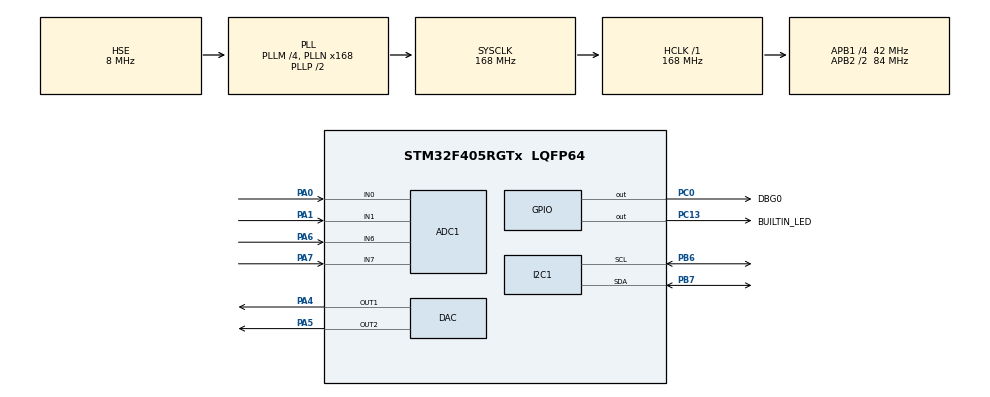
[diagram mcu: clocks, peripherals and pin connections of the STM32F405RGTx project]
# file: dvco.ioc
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Mcu.Family=STM32F4
PH0-OSC_IN.Signal=RCC_OSC_IN
RCC.CortexFreq_Value=168000000
Dma.DAC2.2.PeriphInc=DMA_PINC_DISABLE
DAC.DAC_OutputBuffer2=DAC_OUTPUTBUFFER_DISABLE
Dma.DAC1.1.PeriphInc=DMA_PINC_DISABLE
PC0.GPIO_Label=DBG0
Dma.DAC2.2.Priority=DMA_PRIORITY_LOW
Dma.DAC2.2.FIFOMode=DMA_FIFOMODE_DISABLE
RCC.SYSCLKSource=RCC_SYSCLKSOURCE_PLLCLK
ProjectManager.StackSize=0x400
SH.COMP_DAC2_group.0=DAC_OUT2,DAC_OUT2
Dma.DAC2.2.Instance=DMA1_Stream6
Mcu.UserConstants=AUD_PRE,349;AUD_CNT,9
ADC1.Channel-3\#ChannelRegularConversion=ADC_CHANNEL_7
RCC.HCLKFreq_Value=168000000
RCC.APB2TimFreq_Value=168000000
PB6.Signal=I2C1_SCL
Dma.ADC1.0.Direction=DMA_PERIPH_TO_MEMORY
ADC1.Channel-2\#ChannelRegularConversion=ADC_CHANNEL_6
PB6.Mode=I2C
NVIC.DMA2_Stream0_IRQn=true\:0\:0\:false\:false\:true\:false\:true
Dma.ADC1.0.MemDataAlignment=DMA_MDATAALIGN_HALFWORD
RCC.AHBFreq_Value=168000000
PH0-OSC_IN.Mode=HSE-External-Oscillator
ADC1.Channel-0\#ChannelRegularConversion=ADC_CHANNEL_0
RCC.HSE_VALUE=8000000
ADC1.ScanConvMode=ENABLE
PC13-ANTI_TAMP.Signal=GPIO_Output
DAC.DAC_Trigger2=DAC_TRIGGER_T8_TRGO
ADC1.Rank-2\#ChannelRegularConversion=3
STMicroelectronics.X-CUBE-ALGOBUILD.1.1.0.LibraryCcDSPOoLibraryJjDSPOoLibrary=true
DAC.DAC_Trigger=DAC_TRIGGER_T8_TRGO
PA14.Mode=Serial_Wire
Dma.ADC1.0.PeriphInc=DMA_PINC_DISABLE
Dma.DAC1.1.PeriphDataAlignment=DMA_PDATAALIGN_HALFWORD
PB7.Signal=I2C1_SDA
DAC.DAC_OutputBuffer=DAC_OUTPUTBUFFER_DISABLE
SH.ADCx_IN0.0=ADC1_IN0,IN0
Dma.DAC1.1.Priority=DMA_PRIORITY_LOW
Dma.DAC2.2.MemInc=DMA_MINC_ENABLE
ADC1.SamplingTime-0\#ChannelRegularConversion=ADC_SAMPLETIME_3CYCLES
Dma.DAC1.1.Direction=DMA_MEMORY_TO_PERIPH
PH1-OSC_OUT.Mode=HSE-External-Oscillator
Mcu.Package=LQFP64
PA6.Signal=ADCx_IN6
TIM8.Prescaler=AUD_PRE
RCC.APB2CLKDivider=RCC_HCLK_DIV2
SH.ADCx_IN1.0=ADC1_IN1,IN1
Dma.Request2=DAC2
Dma.Request1=DAC1
RCC.APB1TimFreq_Value=84000000
Dma.ADC1.0.FIFOMode=DMA_FIFOMODE_DISABLE
NVIC.DMA1_Stream6_IRQn=true\:0\:0\:false\:false\:true\:false\:true
Dma.Request0=ADC1
Dma.DAC1.1.MemDataAlignment=DMA_MDATAALIGN_HALFWORD
RCC.PLLSourceVirtual=RCC_PLLSOURCE_HSE
SH.COMP_DAC1_group.0=DAC_OUT1,DAC_OUT1
Dma.ADC1.0.Instance=DMA2_Stream0
ADC1.Rank-0\#ChannelRegularConversion=1
SH.ADCx_IN6.0=ADC1_IN6,IN6
PC13-ANTI_TAMP.GPIO_Label=BUILTIN_LED
PC0.Signal=GPIO_Output
RCC.APB1CLKDivider=RCC_HCLK_DIV4
Dma.DAC2.2.MemDataAlignment=DMA_MDATAALIGN_HALFWORD
ADC1.SamplingTime-2\#ChannelRegularConversion=ADC_SAMPLETIME_3CYCLES
PC13-ANTI_TAMP.PinState=GPIO_PIN_SET
PA0-WKUP.Signal=ADCx_IN0
Dma.DAC1.1.MemInc=DMA_MINC_ENABLE
PA13.Signal=SYS_JTMS-SWDIO
Dma.ADC1.0.PeriphDataAlignment=DMA_PDATAALIGN_HALFWORD
Dma.DAC1.1.Mode=DMA_CIRCULAR
ProjectManager.TargetToolchain=STM32CubeIDE
NVIC.DMA1_Stream5_IRQn=true\:0\:0\:false\:false\:true\:false\:true
SH.ADCx_IN7.0=ADC1_IN7,IN7
Dma.ADC1.0.Mode=DMA_CIRCULAR
Dma.ADC1.0.Priority=DMA_PRIORITY_LOW
ADC1.Channel-1\#ChannelRegularConversion=ADC_CHANNEL_1
Dma.DAC2.2.Mode=DMA_CIRCULAR
VP_TIM8_VS_ClockSourceINT.Mode=Internal
RCC.LSE_VALUE=32768
PA1.Signal=ADCx_IN1
PA5.Signal=COMP_DAC2_group
TIM8.AutoReloadPreload=TIM_AUTORELOAD_PRELOAD_ENABLE
board=custom
RCC.VCOOutputFreq_Value=336000000
RCC.APB2Freq_Value=84000000
Dma.DAC2.2.PeriphDataAlignment=DMA_PDATAALIGN_HALFWORD
PH1-OSC_OUT.Signal=RCC_OSC_OUT
ADC1.DMAContinuousRequests=ENABLE
ADC1.NbrOfConversion=4
PA13.Mode=Serial_Wire
Dma.DAC1.1.FIFOMode=DMA_FIFOMODE_DISABLE
VP_STMicroelectronics.X-CUBE-ALGOBUILD_VS_DSPOoLibraryJjLibrary_1.1.0.Mode=DSPOoLibraryJjLibrary
Mcu.Name=STM32F405RGTx
ADC1.ExternalTrigConv=ADC_EXTERNALTRIGCONV_T8_TRGO
TIM8.Period=AUD_CNT
RCC.48MHZClocksFreq_Value=84000000
PA4.Signal=COMP_DAC1_group
ADC1.SamplingTime-1\#ChannelRegularConversion=ADC_SAMPLETIME_3CYCLES
RCC.SYSCLKFreq_VALUE=168000000
ADC1.master=1
ADC1.Rank-3\#ChannelRegularConversion=4
ADC1.SamplingTime-3\#ChannelRegularConversion=ADC_SAMPLETIME_3CYCLES
TIM8.TIM_MasterOutputTrigger=TIM_TRGO_UPDATE
Dma.DAC1.1.Instance=DMA1_Stream5
ADC1.Rank-1\#ChannelRegularConversion=2
PB7.Mode=I2C
PA14.Signal=SYS_JTCK-SWCLK
Dma.ADC1.0.MemInc=DMA_MINC_ENABLE
ProjectManager.HeapSize=0x200
RCC.HSI_VALUE=16000000
NVIC.PriorityGroup=NVIC_PRIORITYGROUP_4
ADC1.NbrOfConversionFlag=1
RCC.PLLM=4
RCC.PLLN=168
Dma.DAC2.2.Direction=DMA_MEMORY_TO_PERIPH
RCC.APB1Freq_Value=42000000
PA7.Signal=ADCx_IN7

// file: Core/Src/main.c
/* USER CODE BEGIN Header */
/**
 ******************************************************************************
 * @file           : main.c
 * @brief          : Main program body
 ******************************************************************************
 * @attention
 *
 * <h2><center>&copy; Copyright (c) 2020 Lars Boegild Thomsen <lbthomsen@gmail.com>.
 * All rights reserved.</center></h2>
 *
 * This software component is licensed by lbthomsen under MIT license,
 * the "License"; You may not use this file except in compliance with the
 * License. You may obtain a copy of the License at:
 *                        opensource.org/licenses/MIT
 *
 ******************************************************************************
 */
/* USER CODE END Header */
#include "main.h"

/* USER CODE BEGIN Includes */

// Relies on arm's optimised floating point library to get math done quick
#include "arm_math.h"
/* USER CODE END Includes */

/* USER CODE BEGIN PD */

#define M_PI2 2 * M_PI // Full Circle

#define SAMPLE_FREQUENCY 48000 // TIM8
#define BUFFER_SIZE 48
#define DAC_MAX 4095
#define DAC_MID 2047

/* USER CODE END PD */

ADC_HandleTypeDef hadc1;
DMA_HandleTypeDef hdma_adc1;

DAC_HandleTypeDef hdac;
DMA_HandleTypeDef hdma_dac1;
DMA_HandleTypeDef hdma_dac2;

I2C_HandleTypeDef hi2c1;

TIM_HandleTypeDef htim8;

/* USER CODE BEGIN PV */

// Actual buffers used by DMA from adcs and to dacs
uint16_t adc_buffer[BUFFER_SIZE * 2 * 4] = { 0 };
uint16_t dac1_buffer[BUFFER_SIZE * 2] = { 0 };
uint16_t dac2_buffer[BUFFER_SIZE * 2] = { 0 };

uint16_t *adc_buffer_ptr = adc_buffer;
uint16_t *dac1_buffer_ptr = dac1_buffer;
uint16_t *dac2_buffer_ptr = dac2_buffer;

// Stuff used for wave calculations
float osc1_angle = 0;				// Current angle
float osc1_angle_per_sample = 0;    // Angular velocity - calculated from freq
float osc1_amp = 1;
float osc2_angle = 0;
float osc2_angle_per_sample = 0;
float osc2_amp = 1;

uint32_t dac_count = 0; // Count dma buffer transfers
uint32_t adc_count = 0; //

// Potentiometer values
uint16_t pot0 = 0;
uint16_t pot1 = 0;

/* USER CODE END PV */

void SystemClock_Config(void);
static void MX_GPIO_Init(void);
static void MX_DMA_Init(void);
static void MX_ADC1_Init(void);
static void MX_DAC_Init(void);
static void MX_TIM8_Init(void);
static void MX_I2C1_Init(void);

/* USER CODE BEGIN 0 */

// Technically we're not interested in frequency but instead
// immediately calculate the angular velocity.
void set_osc1_freq(float freq) {
	osc1_angle_per_sample = M_PI2 / (SAMPLE_FREQUENCY / freq);
}

void set_osc2_freq(float freq) {
	osc2_angle_per_sample = M_PI2 / (SAMPLE_FREQUENCY / freq);
}

// Get pot values - average of 48 samples each pot
static inline void update_pots(uint16_t *sample_ptr) {

	HAL_GPIO_WritePin(DBG0_GPIO_Port, DBG0_Pin, GPIO_PIN_SET);

	uint32_t pot0_value = 0;
	uint32_t pot1_value = 0;
	for (uint8_t i = 0; i < BUFFER_SIZE; ++i) {
		pot0_value += (uint16_t) *sample_ptr;
		sample_ptr++;
		pot1_value += (uint16_t) *sample_ptr;
		sample_ptr++;
		sample_ptr++;
		sample_ptr++;
	}
	pot0 = pot0_value / BUFFER_SIZE;
	pot1 = pot1_value / BUFFER_SIZE;

	//set_osc1_freq((float) (4096 - pot0) / 4);
	//osc1_amp = (float) (4096.0 - pot1) / 4096;

	adc_count++;

	HAL_GPIO_WritePin(DBG0_GPIO_Port, DBG0_Pin, GPIO_PIN_RESET);

}

void HAL_ADC_ConvCpltCallback(ADC_HandleTypeDef *hadc) {
	if (hadc->Instance == ADC1) {

		update_pots(&adc_buffer[BUFFER_SIZE]);

	}
}

void HAL_ADC_ConvHalfCpltCallback(ADC_HandleTypeDef *hadc) {
	if (hadc->Instance == ADC1) {

		update_pots(&adc_buffer[0]);

	}
}

static inline void update_osc_buffers() {

	HAL_GPIO_WritePin(DBG0_GPIO_Port, DBG0_Pin, GPIO_PIN_SET);

	for (uint8_t sample = 0; sample < BUFFER_SIZE; sample++) {

		*dac1_buffer_ptr = (uint16_t) (DAC_MID
				+ osc1_amp * arm_sin_f32(osc1_angle) * DAC_MID);
		*dac2_buffer_ptr = (uint16_t) (DAC_MID
				+ osc2_amp * arm_sin_f32(osc2_angle) * DAC_MID);
		osc1_angle += osc1_angle_per_sample;
		osc2_angle += osc2_angle_per_sample;
		dac1_buffer_ptr++;
		dac2_buffer_ptr++;

		if (osc1_angle > M_PI2)
			osc1_angle -= M_PI2;
		if (osc2_angle > M_PI2)
			osc2_angle -= M_PI2;

	}

	dac_count++;

	HAL_GPIO_WritePin(DBG0_GPIO_Port, DBG0_Pin, GPIO_PIN_RESET);

}

// Contrary to the name this callback actually handles both channels
void HAL_DAC_ConvCpltCallbackCh1(DAC_HandleTypeDef *hdac) {

	dac1_buffer_ptr = &dac1_buffer[BUFFER_SIZE];
	dac2_buffer_ptr = &dac2_buffer[BUFFER_SIZE];

	update_osc_buffers();

}

// Contrary to the name this callback actually handles both channels
void HAL_DAC_ConvHalfCpltCallbackCh1(DAC_HandleTypeDef *hdac) {

	dac1_buffer_ptr = &dac1_buffer[0];
	dac2_buffer_ptr = &dac2_buffer[0];

	update_osc_buffers();

}

/* USER CODE END 0 */

int main(void)
{

  /* MCU Configuration--------------------------------------------------------*/

  /* Reset of all peripherals, Initializes the Flash interface and the Systick. */
  HAL_Init();

  /* Configure the system clock */
  SystemClock_Config();

  /* Initialize all configured peripherals */
  MX_GPIO_Init();
  MX_DMA_Init();
  MX_ADC1_Init();
  MX_DAC_Init();
  MX_TIM8_Init();
  MX_I2C1_Init();
  /* USER CODE BEGIN 2 */

	HAL_TIM_Base_Start_IT(&htim8);

	HAL_ADC_Start_DMA(&hadc1, (uint32_t *)adc_buffer, BUFFER_SIZE * 2 * 4);

	HAL_DAC_Start_DMA(&hdac, DAC_CHANNEL_1, (uint32_t *)dac1_buffer, BUFFER_SIZE * 2,
			DAC_ALIGN_12B_R);
	HAL_DAC_Start_DMA(&hdac, DAC_CHANNEL_2, (uint32_t *)dac2_buffer, BUFFER_SIZE * 2,
			DAC_ALIGN_12B_R);

	set_osc1_freq(440);
	osc1_amp = 0.99;

	set_osc2_freq(441);
	osc2_amp = 0.9;

  /* USER CODE END 2 */

  /* Infinite loop */
  /* USER CODE BEGIN WHILE */

	uint32_t then = 0;

	while (1) {
		uint32_t now = HAL_GetTick();
		if (now % 500 == 0 && now != then) {

			// Let's toggle the built in led just to show we're alive and well
			HAL_GPIO_TogglePin(BUILTIN_LED_GPIO_Port, BUILTIN_LED_Pin);

			then = now;
		}

    /* USER CODE END WHILE */

	}
}

void SystemClock_Config(void)
{
  RCC_OscInitTypeDef RCC_OscInitStruct = {0};
  RCC_ClkInitTypeDef RCC_ClkInitStruct = {0};

  /** Configure the main internal regulator output voltage
  */
  __HAL_RCC_PWR_CLK_ENABLE();
  __HAL_PWR_VOLTAGESCALING_CONFIG(PWR_REGULATOR_VOLTAGE_SCALE1);
  /** Initializes the RCC Oscillators according to the specified parameters
  * in the RCC_OscInitTypeDef structure.
  */
  RCC_OscInitStruct.OscillatorType = RCC_OSCILLATORTYPE_HSE;
  RCC_OscInitStruct.HSEState = RCC_HSE_ON;
  RCC_OscInitStruct.PLL.PLLState = RCC_PLL_ON;
  RCC_OscInitStruct.PLL.PLLSource = RCC_PLLSOURCE_HSE;
  RCC_OscInitStruct.PLL.PLLM = 4;
  RCC_OscInitStruct.PLL.PLLN = 168;
  RCC_OscInitStruct.PLL.PLLP = RCC_PLLP_DIV2;
  RCC_OscInitStruct.PLL.PLLQ = 4;
  if (HAL_RCC_OscConfig(&RCC_OscInitStruct) != HAL_OK)
  {
    Error_Handler();
  }
  /** Initializes the CPU, AHB and APB buses clocks
  */
  RCC_ClkInitStruct.ClockType = RCC_CLOCKTYPE_HCLK|RCC_CLOCKTYPE_SYSCLK
                              |RCC_CLOCKTYPE_PCLK1|RCC_CLOCKTYPE_PCLK2;
  RCC_ClkInitStruct.SYSCLKSource = RCC_SYSCLKSOURCE_PLLCLK;
  RCC_ClkInitStruct.AHBCLKDivider = RCC_SYSCLK_DIV1;
  RCC_ClkInitStruct.APB1CLKDivider = RCC_HCLK_DIV4;
  RCC_ClkInitStruct.APB2CLKDivider = RCC_HCLK_DIV2;

  if (HAL_RCC_ClockConfig(&RCC_ClkInitStruct, FLASH_LATENCY_5) != HAL_OK)
  {
    Error_Handler();
  }
}

static void MX_ADC1_Init(void)
{

  ADC_ChannelConfTypeDef sConfig = {0};

  /** Configure the global features of the ADC (Clock, Resolution, Data Alignment and number of conversion)
  */
  hadc1.Instance = ADC1;
  hadc1.Init.ClockPrescaler = ADC_CLOCK_SYNC_PCLK_DIV4;
  hadc1.Init.Resolution = ADC_RESOLUTION_12B;
  hadc1.Init.ScanConvMode = ENABLE;
  hadc1.Init.ContinuousConvMode = DISABLE;
  hadc1.Init.DiscontinuousConvMode = DISABLE;
  hadc1.Init.ExternalTrigConvEdge = ADC_EXTERNALTRIGCONVEDGE_RISING;
  hadc1.Init.ExternalTrigConv = ADC_EXTERNALTRIGCONV_T8_TRGO;
  hadc1.Init.DataAlign = ADC_DATAALIGN_RIGHT;
  hadc1.Init.NbrOfConversion = 4;
  hadc1.Init.DMAContinuousRequests = ENABLE;
  hadc1.Init.EOCSelection = ADC_EOC_SINGLE_CONV;
  if (HAL_ADC_Init(&hadc1) != HAL_OK)
  {
    Error_Handler();
  }
  /** Configure for the selected ADC regular channel its corresponding rank in the sequencer and its sample time.
  */
  sConfig.Channel = ADC_CHANNEL_0;
  sConfig.Rank = 1;
  sConfig.SamplingTime = ADC_SAMPLETIME_3CYCLES;
  if (HAL_ADC_ConfigChannel(&hadc1, &sConfig) != HAL_OK)
  {
    Error_Handler();
  }
  /** Configure for the selected ADC regular channel its corresponding rank in the sequencer and its sample time.
  */
  sConfig.Channel = ADC_CHANNEL_1;
  sConfig.Rank = 2;
  if (HAL_ADC_ConfigChannel(&hadc1, &sConfig) != HAL_OK)
  {
    Error_Handler();
  }
  /** Configure for the selected ADC regular channel its corresponding rank in the sequencer and its sample time.
  */
  sConfig.Channel = ADC_CHANNEL_6;
  sConfig.Rank = 3;
  if (HAL_ADC_ConfigChannel(&hadc1, &sConfig) != HAL_OK)
  {
    Error_Handler();
  }
  /** Configure for the selected ADC regular channel its corresponding rank in the sequencer and its sample time.
  */
  sConfig.Channel = ADC_CHANNEL_7;
  sConfig.Rank = 4;
  if (HAL_ADC_ConfigChannel(&hadc1, &sConfig) != HAL_OK)
  {
    Error_Handler();
  }

}

static void MX_DAC_Init(void)
{

  DAC_ChannelConfTypeDef sConfig = {0};

  /** DAC Initialization
  */
  hdac.Instance = DAC;
  if (HAL_DAC_Init(&hdac) != HAL_OK)
  {
    Error_Handler();
  }
  /** DAC channel OUT1 config
  */
  sConfig.DAC_Trigger = DAC_TRIGGER_T8_TRGO;
  sConfig.DAC_OutputBuffer = DAC_OUTPUTBUFFER_DISABLE;
  if (HAL_DAC_ConfigChannel(&hdac, &sConfig, DAC_CHANNEL_1) != HAL_OK)
  {
    Error_Handler();
  }
  /** DAC channel OUT2 config
  */
  if (HAL_DAC_ConfigChannel(&hdac, &sConfig, DAC_CHANNEL_2) != HAL_OK)
  {
    Error_Handler();
  }

}

static void MX_I2C1_Init(void)
{

  hi2c1.Instance = I2C1;
  hi2c1.Init.ClockSpeed = 100000;
  hi2c1.Init.DutyCycle = I2C_DUTYCYCLE_2;
  hi2c1.Init.OwnAddress1 = 0;
  hi2c1.Init.AddressingMode = I2C_ADDRESSINGMODE_7BIT;
  hi2c1.Init.DualAddressMode = I2C_DUALADDRESS_DISABLE;
  hi2c1.Init.OwnAddress2 = 0;
  hi2c1.Init.GeneralCallMode = I2C_GENERALCALL_DISABLE;
  hi2c1.Init.NoStretchMode = I2C_NOSTRETCH_DISABLE;
  if (HAL_I2C_Init(&hi2c1) != HAL_OK)
  {
    Error_Handler();
  }

}

static void MX_TIM8_Init(void)
{

  TIM_ClockConfigTypeDef sClockSourceConfig = {0};
  TIM_MasterConfigTypeDef sMasterConfig = {0};

  htim8.Instance = TIM8;
  htim8.Init.Prescaler = AUD_PRE;
  htim8.Init.CounterMode = TIM_COUNTERMODE_UP;
  htim8.Init.Period = AUD_CNT;
  htim8.Init.ClockDivision = TIM_CLOCKDIVISION_DIV1;
  htim8.Init.RepetitionCounter = 0;
  htim8.Init.AutoReloadPreload = TIM_AUTORELOAD_PRELOAD_ENABLE;
  if (HAL_TIM_Base_Init(&htim8) != HAL_OK)
  {
    Error_Handler();
  }
  sClockSourceConfig.ClockSource = TIM_CLOCKSOURCE_INTERNAL;
  if (HAL_TIM_ConfigClockSource(&htim8, &sClockSourceConfig) != HAL_OK)
  {
    Error_Handler();
  }
  sMasterConfig.MasterOutputTrigger = TIM_TRGO_UPDATE;
  sMasterConfig.MasterSlaveMode = TIM_MASTERSLAVEMODE_DISABLE;
  if (HAL_TIMEx_MasterConfigSynchronization(&htim8, &sMasterConfig) != HAL_OK)
  {
    Error_Handler();
  }

}

static void MX_DMA_Init(void)
{

  /* DMA controller clock enable */
  __HAL_RCC_DMA2_CLK_ENABLE();
  __HAL_RCC_DMA1_CLK_ENABLE();

  /* DMA interrupt init */
  /* DMA1_Stream5_IRQn interrupt configuration */
  HAL_NVIC_SetPriority(DMA1_Stream5_IRQn, 0, 0);
  HAL_NVIC_EnableIRQ(DMA1_Stream5_IRQn);
  /* DMA1_Stream6_IRQn interrupt configuration */
  HAL_NVIC_SetPriority(DMA1_Stream6_IRQn, 0, 0);
  HAL_NVIC_EnableIRQ(DMA1_Stream6_IRQn);
  /* DMA2_Stream0_IRQn interrupt configuration */
  HAL_NVIC_SetPriority(DMA2_Stream0_IRQn, 0, 0);
  HAL_NVIC_EnableIRQ(DMA2_Stream0_IRQn);

}

static void MX_GPIO_Init(void)
{
  GPIO_InitTypeDef GPIO_InitStruct = {0};

  /* GPIO Ports Clock Enable */
  __HAL_RCC_GPIOC_CLK_ENABLE();
  __HAL_RCC_GPIOH_CLK_ENABLE();
  __HAL_RCC_GPIOA_CLK_ENABLE();
  __HAL_RCC_GPIOB_CLK_ENABLE();

  /*Configure GPIO pin Output Level */
  HAL_GPIO_WritePin(BUILTIN_LED_GPIO_Port, BUILTIN_LED_Pin, GPIO_PIN_SET);

  /*Configure GPIO pin Output Level */
  HAL_GPIO_WritePin(DBG0_GPIO_Port, DBG0_Pin, GPIO_PIN_RESET);

  /*Configure GPIO pins : BUILTIN_LED_Pin DBG0_Pin */
  GPIO_InitStruct.Pin = BUILTIN_LED_Pin|DBG0_Pin;
  GPIO_InitStruct.Mode = GPIO_MODE_OUTPUT_PP;
  GPIO_InitStruct.Pull = GPIO_NOPULL;
  GPIO_InitStruct.Speed = GPIO_SPEED_FREQ_LOW;
  HAL_GPIO_Init(GPIOC, &GPIO_InitStruct);

}

void Error_Handler(void)
{
	__disable_irq();
	while (1) {
	}
}

/************************ (C) COPYRIGHT STMicroelectronics *****END OF FILE****/
